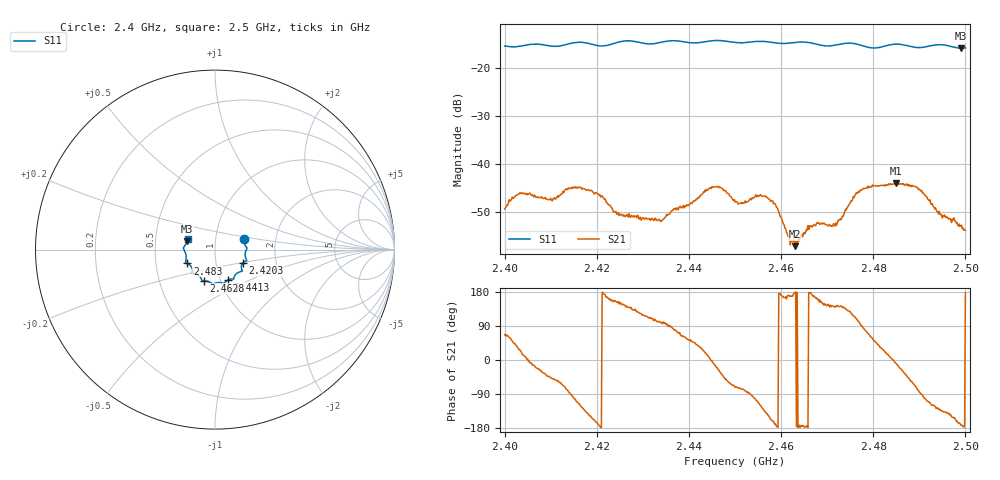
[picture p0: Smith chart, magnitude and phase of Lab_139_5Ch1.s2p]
# Hz S RI R 50
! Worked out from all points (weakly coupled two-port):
!   601 points, 2.4 GHz to 2.5 GHz, reference 50 ohm
!   highest |S21| = -44.00 dB at 2.485 GHz (marker M1); lowest = -57.1 dB at 2.463 GHz (marker M2)
!   lowest |S11| = -15.8 dB at 2.499 GHz (marker M3), VSWR 1.39, Z = 36.4 + j3.38 ohm
!   |S11| at or under -10 dB: start of sweep to end of sweep
!   S12 and S22 are empty: the file has one direction only
!   S11 on the Smith chart (normalised r, x): 2.4 GHz: 1.37, +0.16; 2.4203 GHz: 1.35, -0.21; 2.4413 GHz: 1.09, -0.38; 2.4628 GHz: 0.83, -0.30; 2.483 GHz: 0.72, -0.11; 2.5 GHz: 0.73, +0.09
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2.4e9  0.1609 0.057  0.00136 0.00313  0 0  0 0
2.403333e9  0.1686 0.023  0.00452 0.00226  0 0  0 0
2.41e9  0.1703 -0.0102  0.00304 -0.00319  0 0  0 0
2.416667e9  0.1763 -0.0615  -0.00319 -0.00475  0 0  0 0
2.420333e9  0.1554 -0.0739  -0.00483 -0.000842  0 0  0 0
2.424833e9  0.1499 -0.1141  -0.00247 0.00155  0 0  0 0
2.433333e9  0.1082 -0.1485  -0.000502 0.00256  0 0  0 0
2.441333e9  0.0745 -0.1681  0.00294 0.00292  0 0  0 0
2.445833e9  0.0501 -0.1885  0.00557 -0.00173  0 0  0 0
2.45e9  0.0294 -0.1836  0.00125 -0.00382  0 0  0 0
2.457e9  -0.0168 -0.1885  -0.00352 -0.00281  0 0  0 0
2.462833e9  -0.063 -0.1747  -0.00157 0.000108  0 0  0 0
2.463e9  -0.064 -0.1745  -0.0014 4.24e-05  0 0  0 0
2.466667e9  -0.0742 -0.1676  -0.00225 0.00033  0 0  0 0
2.471667e9  -0.1079 -0.1364  -0.00172 0.00148  0 0  0 0
2.476833e9  -0.1244 -0.1256  -0.00104 0.00515  0 0  0 0
2.483e9  -0.1549 -0.0768  0.00582 0.00156  0 0  0 0
2.483333e9  -0.157 -0.0758  0.00611 0.00129  0 0  0 0
2.485e9  -0.1636 -0.0717  0.00623 -0.00104  0 0  0 0
2.4895e9  -0.1609 -0.0347  0.00134 -0.00556  0 0  0 0
2.499e9  -0.1556 0.0452  -0.00225 -0.000321  0 0  0 0
2.5e9  -0.1526 0.0585  -0.00204 8.93e-05  0 0  0 0
